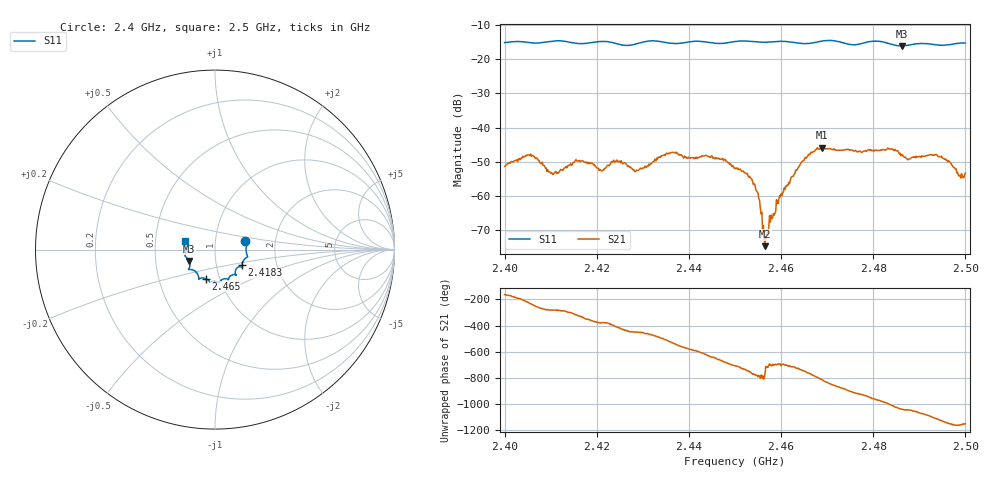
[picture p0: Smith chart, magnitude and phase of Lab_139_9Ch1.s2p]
# Hz S RI R 50
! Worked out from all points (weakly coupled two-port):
!   601 points, 2.4 GHz to 2.5 GHz, reference 50 ohm
!   highest |S21| = -45.87 dB at 2.4688 GHz (marker M1); lowest = -74.8 dB at 2.4565 GHz (marker M2)
!   lowest |S11| = -16.1 dB at 2.4862 GHz (marker M3), VSWR 1.37, Z = 37.2 - j4.83 ohm
!   |S11| at or under -10 dB: start of sweep to end of sweep
!   S12 and S22 are empty: the file has one direction only
!   S11 on the Smith chart (normalised r, x): 2.4 GHz: 1.40, +0.14; 2.4183 GHz: 1.33, -0.24; 2.465 GHz: 0.86, -0.28; 2.5 GHz: 0.71, +0.07
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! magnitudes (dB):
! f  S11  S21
! 2.4 GHz  -15.1  -51.4
! 2.4055 GHz  -15.1  -48.2
! 2.4108 GHz  -14.6  -53.2
! 2.4167 GHz  -15.4  -49.8
! 2.4183 GHz  -15.2  -50.4
! 2.421 GHz  -14.8  -52.7
! 2.4248 GHz  -15.6  -50.0
! 2.4287 GHz  -15.5  -52.5
! 2.4333 GHz  -14.7  -48.7
! 2.444 GHz  -15.0  -48.4
! 2.45 GHz  -14.8  -51.9
! 2.454 GHz  -14.8  -56.8
! 2.4553 GHz  -15.0  -61.4
! 2.4565 GHz  -15.0  -74.8
! 2.4595 GHz  -14.7  -61.3
! 2.465 GHz  -15.4  -49.6
! 2.4667 GHz  -15.2  -47.4
! 2.4688 GHz  -14.7  -45.9
! 2.4833 GHz  -15.3  -46.3
! 2.4862 GHz  -16.1  -47.9
! 2.4938 GHz  -15.8  -48.0
! 2.5 GHz  -15.2  -53.3
